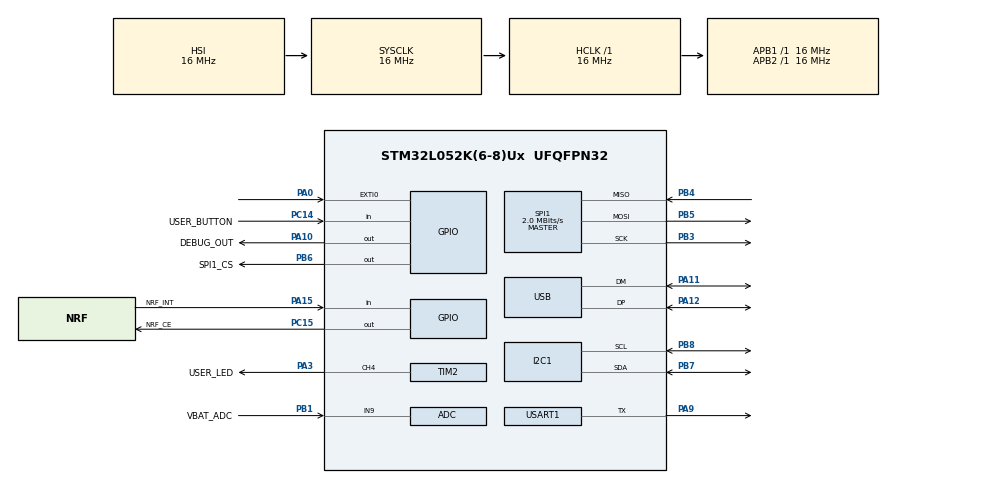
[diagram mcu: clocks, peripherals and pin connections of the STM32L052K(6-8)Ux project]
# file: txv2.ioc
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ADC.ClockPrescaler=ADC_CLOCK_SYNC_PCLK_DIV2
ADC.ContinuousConvMode=DISABLE
ADC.DMAContinuousRequests=DISABLE
ADC.DataAlign=ADC_DATAALIGN_RIGHT
ADC.DiscontinuousConvMode=DISABLE
ADC.EOCSelection=ADC_EOC_SINGLE_CONV
ADC.EnableAnalogWatchDog=false
ADC.ExternalTrigConv=ADC_SOFTWARE_START
ADC.ExternalTrigConvEdge=ADC_EXTERNALTRIGCONVEDGE_NONE
ADC.LowPowerAutoPowerOff=DISABLE
ADC.LowPowerAutoWait=DISABLE
ADC.LowPowerFrequencyMode=DISABLE
ADC.Overrun=ADC_OVR_DATA_PRESERVED
ADC.OversamplingMode=DISABLE
ADC.Resolution=ADC_RESOLUTION_8B
ADC.SamplingTime=ADC_SAMPLETIME_79CYCLES_5
ADC.ScanConvMode=ADC_SCAN_DIRECTION_FORWARD
I2C1.Timing=0x00303D5B
Mcu.Family=STM32L0
Mcu.Name=STM32L052K(6-8)Ux
Mcu.Package=UFQFPN32
NVIC.EXTI0_1_IRQn=true\:1\:0\:true\:false\:true\:true
NVIC.TIM6_DAC_IRQn=true\:0\:0\:false\:false\:true\:true
PA0.GPIO_ModeDefaultEXTI=GPIO_MODE_IT_FALLING
PA0.GPIO_PuPd=GPIO_PULLUP
PA0.Signal=GPXTI0
PA10.GPIO_Label=DEBUG_OUT
PA10.Signal=GPIO_Output
PA11.Mode=Device
PA11.Signal=USB_DM
PA12.Mode=Device
PA12.Signal=USB_DP
PA13.Mode=Serial_Wire
PA13.Signal=SYS_SWDIO
PA14.Mode=Serial_Wire
PA14.Signal=SYS_SWCLK
PA15.GPIO_Label=NRF_INT
PA15.Signal=GPIO_Input
PA3.GPIO_Label=USER_LED
PA3.Signal=S_TIM2_CH4
PA9.Mode=Half_duplex(single_wire_mode)
PA9.Signal=USART1_TX
PB1.GPIO_Label=VBAT_ADC
PB1.Mode=IN9
PB1.Signal=ADC_IN9
PB3.Mode=Full_Duplex_Master
PB3.Signal=SPI1_SCK
PB4.Mode=Full_Duplex_Master
PB4.Signal=SPI1_MISO
PB5.Mode=Full_Duplex_Master
PB5.Signal=SPI1_MOSI
PB6.GPIO_Label=SPI1_CS
PB6.PinState=GPIO_PIN_SET
PB6.Signal=GPIO_Output
PB7.Mode=I2C
PB7.Signal=I2C1_SDA
PB8.Mode=I2C
PB8.Signal=I2C1_SCL
PC14-OSC32_IN.GPIO_Label=USER_BUTTON
PC14-OSC32_IN.Signal=GPIO_Input
PC15-OSC32_OUT.GPIO_Label=NRF_CE
PC15-OSC32_OUT.PinState=GPIO_PIN_RESET
PC15-OSC32_OUT.Signal=GPIO_Output
ProjectManager.HeapSize=0x200
ProjectManager.StackSize=0x400
ProjectManager.TargetToolchain=MDK-ARM V5
RCC.AHBFreq_Value=16000000
RCC.APB1Freq_Value=16000000
RCC.APB1TimFreq_Value=16000000
RCC.APB2Freq_Value=16000000
RCC.APB2TimFreq_Value=16000000
RCC.HCLKFreq_Value=16000000
RCC.HSI16_VALUE=16000000
RCC.HSI48MClockSelection=RCC_USBCLKSOURCE_HSI48
RCC.HSI48_VALUE=48000000
RCC.HSI_VALUE=16000000
RCC.I2c1ClockSelection=RCC_I2C1CLKSOURCE_SYSCLK
RCC.LSE_VALUE=32768
RCC.MSI_VALUE=2097000
RCC.PLLMUL=RCC_PLLMUL_4
RCC.SYSCLKFreq_VALUE=16000000
RCC.SYSCLKSource=RCC_SYSCLKSOURCE_HSI
RCC.Usart1ClockSelection=RCC_USART1CLKSOURCE_SYSCLK
RCC.VCOOutputFreq_Value=64000000
SH.S_TIM2_CH4.0=TIM2_CH4,PWM Generation4 CH4
SPI1.BaudRatePrescaler=SPI_BAUDRATEPRESCALER_8
SPI1.CalculateBaudRate=2.0 MBits/s
SPI1.Direction=SPI_DIRECTION_2LINES
SPI1.Mode=SPI_MODE_MASTER
SPI1.VirtualType=VM_MASTER
TIM2.Channel-PWM\ Generation4\ CH4=TIM_CHANNEL_4
TIM2.Period=255
TIM2.Prescaler=799
TIM6.Period=16666
TIM6.Prescaler=15
USART1.DMADisableonRxErrorParam=ADVFEATURE_DMA_DISABLEONRXERROR
USART1.Mode=MODE_TX
USART1.OverrunDisableParam=ADVFEATURE_OVERRUN_DISABLE
USART1.VirtualMode-Half_duplex(single_wire_mode)=VM_ASYNC
VP_ADC_Vref_Input.Mode=IN-Vrefint
VP_TIM2_VS_ClockSourceINT.Mode=Internal
VP_TIM6_VS_ClockSourceINT.Mode=Enable_Timer
board=custom

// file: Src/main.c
/**
  ******************************************************************************
  * @file           : main.c
  * @brief          : Main program body
  ******************************************************************************
  ** This notice applies to any and all portions of this file
  * that are not between comment pairs USER CODE BEGIN and
  * USER CODE END. Other portions of this file, whether
  * inserted by the user or by software development tools
  * are owned by their respective copyright owners.
  *
  * COPYRIGHT(c) 2021 STMicroelectronics
  *
  * Redistribution and use in source and binary forms, with or without modification,
  * are permitted provided that the following conditions are met:
  *   1. Redistributions of source code must retain the above copyright notice,
  *      this list of conditions and the following disclaimer.
  *   2. Redistributions in binary form must reproduce the above copyright notice,
  *      this list of conditions and the following disclaimer in the documentation
  *      and/or other materials provided with the distribution.
  *   3. Neither the name of STMicroelectronics nor the names of its contributors
  *      may be used to endorse or promote products derived from this software
  *      without specific prior written permission.
  *
  * THIS SOFTWARE IS PROVIDED BY THE COPYRIGHT HOLDERS AND CONTRIBUTORS "AS IS"
  * AND ANY EXPRESS OR IMPLIED WARRANTIES, INCLUDING, BUT NOT LIMITED TO, THE
  * IMPLIED WARRANTIES OF MERCHANTABILITY AND FITNESS FOR A PARTICULAR PURPOSE ARE
  * DISCLAIMED. IN NO EVENT SHALL THE COPYRIGHT HOLDER OR CONTRIBUTORS BE LIABLE
  * FOR ANY DIRECT, INDIRECT, INCIDENTAL, SPECIAL, EXEMPLARY, OR CONSEQUENTIAL
  * DAMAGES (INCLUDING, BUT NOT LIMITED TO, PROCUREMENT OF SUBSTITUTE GOODS OR
  * SERVICES; LOSS OF USE, DATA, OR PROFITS; OR BUSINESS INTERRUPTION) HOWEVER
  * CAUSED AND ON ANY THEORY OF LIABILITY, WHETHER IN CONTRACT, STRICT LIABILITY,
  * OR TORT (INCLUDING NEGLIGENCE OR OTHERWISE) ARISING IN ANY WAY OUT OF THE USE
  * OF THIS SOFTWARE, EVEN IF ADVISED OF THE POSSIBILITY OF SUCH DAMAGE.
  *
  ******************************************************************************
  */
#include "main.h"
#include "stm32l0xx_hal.h"

/* USER CODE BEGIN Includes */
#include "helpers.h"
#include "VL53L1X.h"
#include "shared.h"
#include "nrf24.h"
#include "animation.h"

#define DEBUG_HI() HAL_GPIO_WritePin(DEBUG_OUT_GPIO_Port, DEBUG_OUT_Pin, GPIO_PIN_SET)
#define DEBUG_LO() HAL_GPIO_WritePin(DEBUG_OUT_GPIO_Port, DEBUG_OUT_Pin, GPIO_PIN_RESET)

/* USER CODE END Includes */

ADC_HandleTypeDef hadc;

I2C_HandleTypeDef hi2c1;

SPI_HandleTypeDef hspi1;

TIM_HandleTypeDef htim2;
TIM_HandleTypeDef htim6;

UART_HandleTypeDef huart1;

PCD_HandleTypeDef hpcd_USB_FS;

/* USER CODE BEGIN PV */
/* Private variables ---------------------------------------------------------*/

/* USER CODE END PV */

void SystemClock_Config(void);
static void MX_GPIO_Init(void);
static void MX_ADC_Init(void);
static void MX_I2C1_Init(void);
static void MX_SPI1_Init(void);
static void MX_USART1_UART_Init(void);
static void MX_USB_PCD_Init(void);
static void MX_TIM2_Init(void);
static void MX_TIM6_Init(void);

void HAL_TIM_MspPostInit(TIM_HandleTypeDef *htim);

/* USER CODE BEGIN PFP */
/* Private function prototypes -----------------------------------------------*/
uint8_t data_array[NRF_PAYLOAD_SIZE];
uint8_t rx_address[5] = {0xBE,0xAD,0xA5,0xBA,0xBE};
uint8_t tx_address[5] = {0xDA,0xBB,0xED,0xC0,0x0C};
/* USER CODE END PFP */

/* USER CODE BEGIN 0 */
int fputc(int ch, FILE *f)
{
  HAL_UART_Transmit(&huart1, (unsigned char *)&ch, 1, 10);
  return ch;
}

void HAL_TIM_PeriodElapsedCallback(TIM_HandleTypeDef *htim)
{
  if(htim->Instance == TIM6)
    animation_update();
}

volatile uint8_t ready_to_sleep;

void HAL_GPIO_EXTI_Callback(uint16_t GPIO_Pin)
{
  printf("V");
  DEBUG_HI();
  // VL53L1X_readCont(1);
  printf("%d\n", VL53L1X_readCont(1));
  DEBUG_LO();
  ready_to_sleep = 1;
}

/* USER CODE END 0 */

int main(void)
{

  /* MCU Configuration----------------------------------------------------------*/

  /* Reset of all peripherals, Initializes the Flash interface and the Systick. */
  HAL_Init();

  /* Configure the system clock */
  SystemClock_Config();

  /* Initialize all configured peripherals */
  MX_GPIO_Init();
  MX_ADC_Init();
  MX_I2C1_Init();
  MX_SPI1_Init();
  MX_USART1_UART_Init();
  MX_USB_PCD_Init();
  MX_TIM2_Init();
  MX_TIM6_Init();
  /* USER CODE BEGIN 2 */
  printf("dayTripper V2\n");
  HAL_GPIO_WritePin(DEBUG_OUT_GPIO_Port, DEBUG_OUT_Pin, GPIO_PIN_RESET);

  VL53L1X_init();
  setDistanceMode(Long);
  setMeasurementTimingBudget(50000);

  nrf24_init();
  nrf24_config(NRF_CHANNEL, NRF_PAYLOAD_SIZE);
  nrf24_tx_address(tx_address);
  nrf24_rx_address(rx_address);
  HAL_GPIO_WritePin(NRF_CE_GPIO_Port, NRF_CE_Pin, GPIO_PIN_RESET);
  HAL_GPIO_WritePin(SPI1_CS_GPIO_Port, SPI1_CS_Pin, GPIO_PIN_SET);

  animation_init(&htim6, &htim2);
  start_animation(ANIMATION_TYPE_BREATHING);
  HAL_Delay(1000);
  start_animation(ANIMATION_TYPE_CONST_OFF);

  startContinuous(250);

  /* USER CODE END 2 */

  /* Infinite loop */
  /* USER CODE BEGIN WHILE */
  while (1)
  {
    // printf("dist: %d\n", VL53L1X_readSingle());
    // printf("adc: %d\n\n", get_battery_adc_reading());
    // build_packet_stat(data_array, 0, 0);
    // send_packet(data_array);
    // for (int i = 0; i < 16; ++i)
    //   printf("ee%d: %d\n", i, EEPROM_ReadByte(i));
    // printf("T%d\n", HAL_GetTick());

    // printf("sleeping...\n");

    // for (int i = 0; i <= 31; i++)
    // {
    //   HAL_NVIC_ClearPendingIRQ(i);
    //   HAL_NVIC_DisableIRQ(i);
    // }
    // __HAL_GPIO_EXTI_CLEAR_IT(0);
    // __HAL_GPIO_EXTI_CLEAR_IT(1);
    // HAL_NVIC_EnableIRQ(EXTI0_1_IRQn);
    // HAL_SuspendTick();

    // HAL_GPIO_WritePin(DEBUG_OUT_GPIO_Port, DEBUG_OUT_Pin, GPIO_PIN_RESET);
    // HAL_ResumeTick();
    // HAL_NVIC_EnableIRQ(TIM6_DAC_IRQn);
    // printf("woke up!\n");

    if(ready_to_sleep)
    {
      printf("sleeping...\n");
      HAL_SuspendTick();
      HAL_PWR_EnterSTOPMode(PWR_LOWPOWERREGULATOR_ON, PWR_STOPENTRY_WFI);
      HAL_ResumeTick();
      huart1.Instance->CR1 &= ~(USART_CR1_UE);
      huart1.Instance->BRR = 18;
      huart1.Instance->CR1 |= USART_CR1_UE;
      printf("woke up!\n");
      ready_to_sleep = 0;
    }

    // HAL_Delay(1000);
  /* USER CODE END WHILE */

  }

}

void SystemClock_Config(void)
{

  RCC_OscInitTypeDef RCC_OscInitStruct;
  RCC_ClkInitTypeDef RCC_ClkInitStruct;
  RCC_PeriphCLKInitTypeDef PeriphClkInit;

    /**Configure the main internal regulator output voltage
    */
  __HAL_PWR_VOLTAGESCALING_CONFIG(PWR_REGULATOR_VOLTAGE_SCALE1);

    /**Initializes the CPU, AHB and APB busses clocks
    */
  RCC_OscInitStruct.OscillatorType = RCC_OSCILLATORTYPE_HSI|RCC_OSCILLATORTYPE_HSI48;
  RCC_OscInitStruct.HSIState = RCC_HSI_ON;
  RCC_OscInitStruct.HSICalibrationValue = 16;
  RCC_OscInitStruct.HSI48State = RCC_HSI48_ON;
  RCC_OscInitStruct.PLL.PLLState = RCC_PLL_NONE;
  if (HAL_RCC_OscConfig(&RCC_OscInitStruct) != HAL_OK)
  {
    _Error_Handler(__FILE__, __LINE__);
  }

    /**Initializes the CPU, AHB and APB busses clocks
    */
  RCC_ClkInitStruct.ClockType = RCC_CLOCKTYPE_HCLK|RCC_CLOCKTYPE_SYSCLK
                              |RCC_CLOCKTYPE_PCLK1|RCC_CLOCKTYPE_PCLK2;
  RCC_ClkInitStruct.SYSCLKSource = RCC_SYSCLKSOURCE_HSI;
  RCC_ClkInitStruct.AHBCLKDivider = RCC_SYSCLK_DIV1;
  RCC_ClkInitStruct.APB1CLKDivider = RCC_HCLK_DIV1;
  RCC_ClkInitStruct.APB2CLKDivider = RCC_HCLK_DIV1;

  if (HAL_RCC_ClockConfig(&RCC_ClkInitStruct, FLASH_LATENCY_0) != HAL_OK)
  {
    _Error_Handler(__FILE__, __LINE__);
  }

  PeriphClkInit.PeriphClockSelection = RCC_PERIPHCLK_USART1|RCC_PERIPHCLK_I2C1
                              |RCC_PERIPHCLK_USB;
  PeriphClkInit.Usart1ClockSelection = RCC_USART1CLKSOURCE_SYSCLK;
  PeriphClkInit.I2c1ClockSelection = RCC_I2C1CLKSOURCE_SYSCLK;
  PeriphClkInit.UsbClockSelection = RCC_USBCLKSOURCE_HSI48;
  if (HAL_RCCEx_PeriphCLKConfig(&PeriphClkInit) != HAL_OK)
  {
    _Error_Handler(__FILE__, __LINE__);
  }

    /**Configure the Systick interrupt time
    */
  HAL_SYSTICK_Config(HAL_RCC_GetHCLKFreq()/1000);

    /**Configure the Systick
    */
  HAL_SYSTICK_CLKSourceConfig(SYSTICK_CLKSOURCE_HCLK);

  /* SysTick_IRQn interrupt configuration */
  HAL_NVIC_SetPriority(SysTick_IRQn, 0, 0);
}

/* ADC init function */
static void MX_ADC_Init(void)
{

  ADC_ChannelConfTypeDef sConfig;

    /**Configure the global features of the ADC (Clock, Resolution, Data Alignment and number of conversion)
    */
  hadc.Instance = ADC1;
  hadc.Init.OversamplingMode = DISABLE;
  hadc.Init.ClockPrescaler = ADC_CLOCK_SYNC_PCLK_DIV2;
  hadc.Init.Resolution = ADC_RESOLUTION_8B;
  hadc.Init.SamplingTime = ADC_SAMPLETIME_79CYCLES_5;
  hadc.Init.ScanConvMode = ADC_SCAN_DIRECTION_FORWARD;
  hadc.Init.DataAlign = ADC_DATAALIGN_RIGHT;
  hadc.Init.ContinuousConvMode = DISABLE;
  hadc.Init.DiscontinuousConvMode = DISABLE;
  hadc.Init.ExternalTrigConvEdge = ADC_EXTERNALTRIGCONVEDGE_NONE;
  hadc.Init.ExternalTrigConv = ADC_SOFTWARE_START;
  hadc.Init.DMAContinuousRequests = DISABLE;
  hadc.Init.EOCSelection = ADC_EOC_SINGLE_CONV;
  hadc.Init.Overrun = ADC_OVR_DATA_PRESERVED;
  hadc.Init.LowPowerAutoWait = DISABLE;
  hadc.Init.LowPowerFrequencyMode = DISABLE;
  hadc.Init.LowPowerAutoPowerOff = DISABLE;
  if (HAL_ADC_Init(&hadc) != HAL_OK)
  {
    _Error_Handler(__FILE__, __LINE__);
  }

    /**Configure for the selected ADC regular channel to be converted.
    */
  sConfig.Channel = ADC_CHANNEL_9;
  sConfig.Rank = ADC_RANK_CHANNEL_NUMBER;
  if (HAL_ADC_ConfigChannel(&hadc, &sConfig) != HAL_OK)
  {
    _Error_Handler(__FILE__, __LINE__);
  }

    /**Configure for the selected ADC regular channel to be converted.
    */
  sConfig.Channel = ADC_CHANNEL_VREFINT;
  if (HAL_ADC_ConfigChannel(&hadc, &sConfig) != HAL_OK)
  {
    _Error_Handler(__FILE__, __LINE__);
  }

}

/* I2C1 init function */
static void MX_I2C1_Init(void)
{

  hi2c1.Instance = I2C1;
  hi2c1.Init.Timing = 0x00303D5B;
  hi2c1.Init.OwnAddress1 = 0;
  hi2c1.Init.AddressingMode = I2C_ADDRESSINGMODE_7BIT;
  hi2c1.Init.DualAddressMode = I2C_DUALADDRESS_DISABLE;
  hi2c1.Init.OwnAddress2 = 0;
  hi2c1.Init.OwnAddress2Masks = I2C_OA2_NOMASK;
  hi2c1.Init.GeneralCallMode = I2C_GENERALCALL_DISABLE;
  hi2c1.Init.NoStretchMode = I2C_NOSTRETCH_DISABLE;
  if (HAL_I2C_Init(&hi2c1) != HAL_OK)
  {
    _Error_Handler(__FILE__, __LINE__);
  }

    /**Configure Analogue filter
    */
  if (HAL_I2CEx_ConfigAnalogFilter(&hi2c1, I2C_ANALOGFILTER_ENABLE) != HAL_OK)
  {
    _Error_Handler(__FILE__, __LINE__);
  }

    /**Configure Digital filter
    */
  if (HAL_I2CEx_ConfigDigitalFilter(&hi2c1, 0) != HAL_OK)
  {
    _Error_Handler(__FILE__, __LINE__);
  }

}

/* SPI1 init function */
static void MX_SPI1_Init(void)
{

  /* SPI1 parameter configuration*/
  hspi1.Instance = SPI1;
  hspi1.Init.Mode = SPI_MODE_MASTER;
  hspi1.Init.Direction = SPI_DIRECTION_2LINES;
  hspi1.Init.DataSize = SPI_DATASIZE_8BIT;
  hspi1.Init.CLKPolarity = SPI_POLARITY_LOW;
  hspi1.Init.CLKPhase = SPI_PHASE_1EDGE;
  hspi1.Init.NSS = SPI_NSS_SOFT;
  hspi1.Init.BaudRatePrescaler = SPI_BAUDRATEPRESCALER_8;
  hspi1.Init.FirstBit = SPI_FIRSTBIT_MSB;
  hspi1.Init.TIMode = SPI_TIMODE_DISABLE;
  hspi1.Init.CRCCalculation = SPI_CRCCALCULATION_DISABLE;
  hspi1.Init.CRCPolynomial = 7;
  if (HAL_SPI_Init(&hspi1) != HAL_OK)
  {
    _Error_Handler(__FILE__, __LINE__);
  }

}

/* TIM2 init function */
static void MX_TIM2_Init(void)
{

  TIM_ClockConfigTypeDef sClockSourceConfig;
  TIM_MasterConfigTypeDef sMasterConfig;
  TIM_OC_InitTypeDef sConfigOC;

  htim2.Instance = TIM2;
  htim2.Init.Prescaler = 799;
  htim2.Init.CounterMode = TIM_COUNTERMODE_UP;
  htim2.Init.Period = 255;
  htim2.Init.ClockDivision = TIM_CLOCKDIVISION_DIV1;
  if (HAL_TIM_Base_Init(&htim2) != HAL_OK)
  {
    _Error_Handler(__FILE__, __LINE__);
  }

  sClockSourceConfig.ClockSource = TIM_CLOCKSOURCE_INTERNAL;
  if (HAL_TIM_ConfigClockSource(&htim2, &sClockSourceConfig) != HAL_OK)
  {
    _Error_Handler(__FILE__, __LINE__);
  }

  if (HAL_TIM_PWM_Init(&htim2) != HAL_OK)
  {
    _Error_Handler(__FILE__, __LINE__);
  }

  sMasterConfig.MasterOutputTrigger = TIM_TRGO_RESET;
  sMasterConfig.MasterSlaveMode = TIM_MASTERSLAVEMODE_DISABLE;
  if (HAL_TIMEx_MasterConfigSynchronization(&htim2, &sMasterConfig) != HAL_OK)
  {
    _Error_Handler(__FILE__, __LINE__);
  }

  sConfigOC.OCMode = TIM_OCMODE_PWM1;
  sConfigOC.Pulse = 0;
  sConfigOC.OCPolarity = TIM_OCPOLARITY_HIGH;
  sConfigOC.OCFastMode = TIM_OCFAST_DISABLE;
  if (HAL_TIM_PWM_ConfigChannel(&htim2, &sConfigOC, TIM_CHANNEL_4) != HAL_OK)
  {
    _Error_Handler(__FILE__, __LINE__);
  }

  HAL_TIM_MspPostInit(&htim2);

}

/* TIM6 init function */
static void MX_TIM6_Init(void)
{

  TIM_MasterConfigTypeDef sMasterConfig;

  htim6.Instance = TIM6;
  htim6.Init.Prescaler = 15;
  htim6.Init.CounterMode = TIM_COUNTERMODE_UP;
  htim6.Init.Period = 16666;
  if (HAL_TIM_Base_Init(&htim6) != HAL_OK)
  {
    _Error_Handler(__FILE__, __LINE__);
  }

  sMasterConfig.MasterOutputTrigger = TIM_TRGO_RESET;
  sMasterConfig.MasterSlaveMode = TIM_MASTERSLAVEMODE_DISABLE;
  if (HAL_TIMEx_MasterConfigSynchronization(&htim6, &sMasterConfig) != HAL_OK)
  {
    _Error_Handler(__FILE__, __LINE__);
  }

}

/* USART1 init function */
static void MX_USART1_UART_Init(void)
{

  huart1.Instance = USART1;
  huart1.Init.BaudRate = 115200;
  huart1.Init.WordLength = UART_WORDLENGTH_8B;
  huart1.Init.StopBits = UART_STOPBITS_1;
  huart1.Init.Parity = UART_PARITY_NONE;
  huart1.Init.Mode = UART_MODE_TX;
  huart1.Init.HwFlowCtl = UART_HWCONTROL_NONE;
  huart1.Init.OverSampling = UART_OVERSAMPLING_16;
  huart1.Init.OneBitSampling = UART_ONE_BIT_SAMPLE_DISABLE;
  huart1.AdvancedInit.AdvFeatureInit = UART_ADVFEATURE_RXOVERRUNDISABLE_INIT|UART_ADVFEATURE_DMADISABLEONERROR_INIT;
  huart1.AdvancedInit.OverrunDisable = UART_ADVFEATURE_OVERRUN_DISABLE;
  huart1.AdvancedInit.DMADisableonRxError = UART_ADVFEATURE_DMA_DISABLEONRXERROR;
  if (HAL_HalfDuplex_Init(&huart1) != HAL_OK)
  {
    _Error_Handler(__FILE__, __LINE__);
  }

}

/* USB init function */
static void MX_USB_PCD_Init(void)
{

  hpcd_USB_FS.Instance = USB;
  hpcd_USB_FS.Init.dev_endpoints = 8;
  hpcd_USB_FS.Init.speed = PCD_SPEED_FULL;
  hpcd_USB_FS.Init.ep0_mps = DEP0CTL_MPS_64;
  hpcd_USB_FS.Init.phy_itface = PCD_PHY_EMBEDDED;
  hpcd_USB_FS.Init.low_power_enable = DISABLE;
  hpcd_USB_FS.Init.lpm_enable = DISABLE;
  hpcd_USB_FS.Init.battery_charging_enable = DISABLE;
  if (HAL_PCD_Init(&hpcd_USB_FS) != HAL_OK)
  {
    _Error_Handler(__FILE__, __LINE__);
  }

}

/** Configure pins as
        * Analog
        * Input
        * Output
        * EVENT_OUT
        * EXTI
*/
static void MX_GPIO_Init(void)
{

  GPIO_InitTypeDef GPIO_InitStruct;

  /* GPIO Ports Clock Enable */
  __HAL_RCC_GPIOC_CLK_ENABLE();
  __HAL_RCC_GPIOA_CLK_ENABLE();
  __HAL_RCC_GPIOB_CLK_ENABLE();

  /*Configure GPIO pin Output Level */
  HAL_GPIO_WritePin(NRF_CE_GPIO_Port, NRF_CE_Pin, GPIO_PIN_RESET);

  /*Configure GPIO pin Output Level */
  HAL_GPIO_WritePin(DEBUG_OUT_GPIO_Port, DEBUG_OUT_Pin, GPIO_PIN_RESET);

  /*Configure GPIO pin Output Level */
  HAL_GPIO_WritePin(SPI1_CS_GPIO_Port, SPI1_CS_Pin, GPIO_PIN_SET);

  /*Configure GPIO pin : USER_BUTTON_Pin */
  GPIO_InitStruct.Pin = USER_BUTTON_Pin;
  GPIO_InitStruct.Mode = GPIO_MODE_INPUT;
  GPIO_InitStruct.Pull = GPIO_NOPULL;
  HAL_GPIO_Init(USER_BUTTON_GPIO_Port, &GPIO_InitStruct);

  /*Configure GPIO pin : NRF_CE_Pin */
  GPIO_InitStruct.Pin = NRF_CE_Pin;
  GPIO_InitStruct.Mode = GPIO_MODE_OUTPUT_PP;
  GPIO_InitStruct.Pull = GPIO_NOPULL;
  GPIO_InitStruct.Speed = GPIO_SPEED_FREQ_LOW;
  HAL_GPIO_Init(NRF_CE_GPIO_Port, &GPIO_InitStruct);

  /*Configure GPIO pin : PA0 */
  GPIO_InitStruct.Pin = GPIO_PIN_0;
  GPIO_InitStruct.Mode = GPIO_MODE_IT_FALLING;
  GPIO_InitStruct.Pull = GPIO_PULLUP;
  HAL_GPIO_Init(GPIOA, &GPIO_InitStruct);

  /*Configure GPIO pin : DEBUG_OUT_Pin */
  GPIO_InitStruct.Pin = DEBUG_OUT_Pin;
  GPIO_InitStruct.Mode = GPIO_MODE_OUTPUT_PP;
  GPIO_InitStruct.Pull = GPIO_NOPULL;
  GPIO_InitStruct.Speed = GPIO_SPEED_FREQ_LOW;
  HAL_GPIO_Init(DEBUG_OUT_GPIO_Port, &GPIO_InitStruct);

  /*Configure GPIO pin : NRF_INT_Pin */
  GPIO_InitStruct.Pin = NRF_INT_Pin;
  GPIO_InitStruct.Mode = GPIO_MODE_INPUT;
  GPIO_InitStruct.Pull = GPIO_NOPULL;
  HAL_GPIO_Init(NRF_INT_GPIO_Port, &GPIO_InitStruct);

  /*Configure GPIO pin : SPI1_CS_Pin */
  GPIO_InitStruct.Pin = SPI1_CS_Pin;
  GPIO_InitStruct.Mode = GPIO_MODE_OUTPUT_PP;
  GPIO_InitStruct.Pull = GPIO_NOPULL;
  GPIO_InitStruct.Speed = GPIO_SPEED_FREQ_LOW;
  HAL_GPIO_Init(SPI1_CS_GPIO_Port, &GPIO_InitStruct);

  /* EXTI interrupt init*/
  HAL_NVIC_SetPriority(EXTI0_1_IRQn, 1, 0);
  HAL_NVIC_EnableIRQ(EXTI0_1_IRQn);

}

void _Error_Handler(char *file, int line)
{
  while(1)
  {
  }
}

/************************ (C) COPYRIGHT STMicroelectronics *****END OF FILE****/
